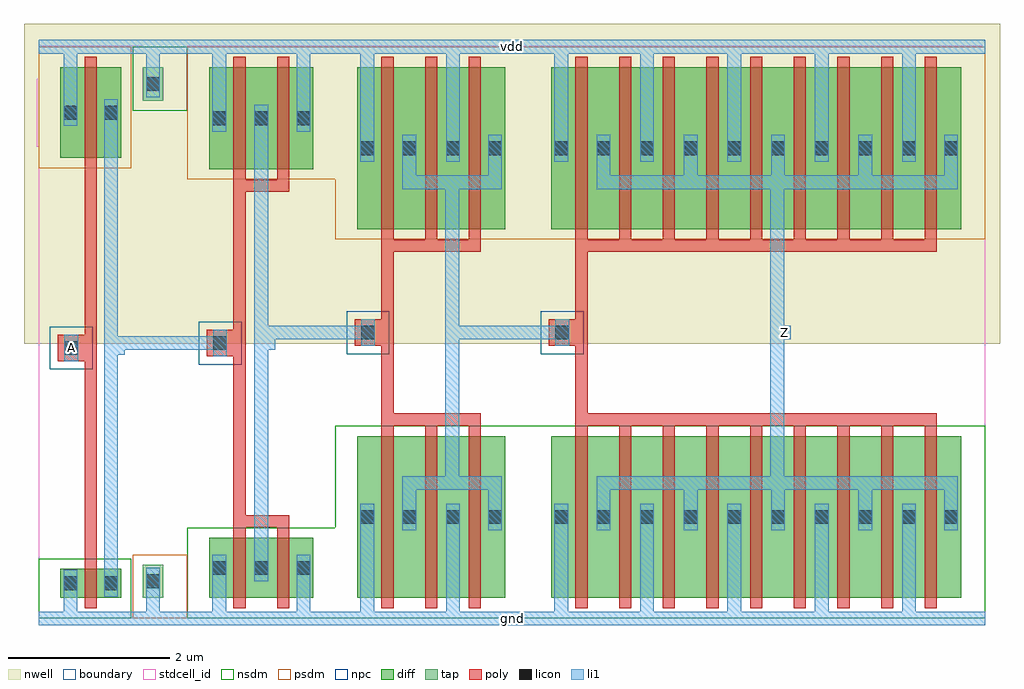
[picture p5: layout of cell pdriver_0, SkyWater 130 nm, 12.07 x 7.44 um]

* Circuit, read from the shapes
.subckt pdriver_0 A Z gnd vdd
XM1 pinv_3_1/A A gnd gnd sky130_fd_pr__nfet_01v8 w=0.36 l=0.15
XM2 pinv_5_2/A pinv_3_1/A gnd gnd sky130_fd_pr__nfet_01v8 w=0.74 l=0.15 m=2
XM3 pinv_6_3/A pinv_5_2/A gnd gnd sky130_fd_pr__nfet_01v8 w=2 l=0.15 m=3
XM4 Z pinv_6_3/A gnd gnd sky130_fd_pr__nfet_01v8 w=2 l=0.15 m=9
XM5 pinv_3_1/A A vdd vdd sky130_fd_pr__pfet_01v8 w=1.12 l=0.15
XM6 pinv_5_2/A pinv_3_1/A vdd vdd sky130_fd_pr__pfet_01v8 w=1.26 l=0.15 m=2
XM7 pinv_6_3/A pinv_5_2/A vdd vdd sky130_fd_pr__pfet_01v8 w=2 l=0.15 m=3
XM8 Z pinv_6_3/A vdd vdd sky130_fd_pr__pfet_01v8 w=2 l=0.15 m=9
.ends

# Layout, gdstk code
import gdstk
lib = gdstk.Library(unit=1e-6, precision=1e-09)
def R(c, l, rs):  # rectangles x0, y0, x1, y1
    for r in rs: c.add(gdstk.rectangle(r[:2], r[2:], *l))
def A(c, l, x, y, w, h, nx, ny, dx, dy):  # array of equal rectangles
    R(c, l, [(x+i*dx, y+j*dy, x+i*dx+w, y+j*dy+h) for i in range(nx) for j in range(ny)])
nwell = (64, 20)
diff = (65, 20)
tap = (65, 44)
poly = (66, 20)
licon = (66, 44)
li1 = (67, 20)
stdcell_id = (81, 4)
nsdm = (93, 44)
psdm = (94, 20)
npc = (95, 20)
boundary = (235, 4)

contact_11 = lib.new_cell('contact_11')
R(contact_11, nwell, [(-0.295,-0.255,0.545,0.585)])
R(contact_11, diff, [(0,0.02,0.25,0.31)])
R(contact_11, licon, [(0.04,0.08,0.21,0.25)])
R(contact_11, li1, [(0.04,0,0.21,0.33)])
R(contact_11, stdcell_id, [(-0.295,-0.255,0.545,0.585)])
R(contact_11, psdm, [(-0.125,-0.105,0.375,0.435)])
R(contact_11, boundary, [(-0.295,-0.255,0.545,0.585)])

pmos_m1_w1_120_sli_dli_d = lib.new_cell('pmos_m1_w1_120_sli_dli_da_p')
R(pmos_m1_w1_120_sli_dli_d, nwell, [(-0.27,-0.27,1.02,1.39)])
R(pmos_m1_w1_120_sli_dli_d, diff, [(0,0,0.75,1.12)])
R(pmos_m1_w1_120_sli_dli_d, poly, [(0.3,-0.13,0.45,1.25), (0.3,-0.13,0.45,1.25)])
R(pmos_m1_w1_120_sli_dli_d, li1, [(0.04,0.395,0.21,0.725), (0.54,0.395,0.71,0.725)])
R(pmos_m1_w1_120_sli_dli_d, stdcell_id, [(-0.27,-0.27,1.02,1.39)])
R(pmos_m1_w1_120_sli_dli_d, psdm, [(-0.125,-0.125,0.875,1.245)])
R(pmos_m1_w1_120_sli_dli_d, boundary, [(-0.27,-0.27,1.02,1.39)])
pmos_m1_w1_120_sli_dli_d.add(gdstk.Reference(contact_11, (0,0.395)))
pmos_m1_w1_120_sli_dli_d.add(gdstk.Reference(contact_11, (0.5,0.395)))
pmos_m1_w1_120_sli_dli_d.add(gdstk.Label('D', (0.625,0.56), layer=67, texttype=16))
pmos_m1_w1_120_sli_dli_d.add(gdstk.Label('S', (0.125,0.56), layer=67, texttype=16))
pmos_m1_w1_120_sli_dli_d.add(gdstk.Label('G', (0.375,0.56), layer=66, texttype=16))

contact_17 = lib.new_cell('contact_17')
R(contact_17, diff, [(0,0.02,0.25,0.31)])
R(contact_17, licon, [(0.04,0.08,0.21,0.25)])
R(contact_17, li1, [(0.04,0,0.21,0.33)])
R(contact_17, stdcell_id, [(-0.125,-0.105,0.375,0.435)])
R(contact_17, nsdm, [(-0.125,-0.105,0.375,0.435)])
R(contact_17, boundary, [(-0.125,-0.105,0.375,0.435)])

nmos_m1_w0_360_sli_dli_d = lib.new_cell('nmos_m1_w0_360_sli_dli_da_p')
R(nmos_m1_w0_360_sli_dli_d, diff, [(0,0,0.75,0.36)])
R(nmos_m1_w0_360_sli_dli_d, poly, [(0.3,-0.13,0.45,0.49), (0.3,-0.13,0.45,0.49)])
R(nmos_m1_w0_360_sli_dli_d, li1, [(0.04,0.015,0.21,0.345), (0.54,0.015,0.71,0.345)])
R(nmos_m1_w0_360_sli_dli_d, stdcell_id, [(-0.125,-0.13,0.875,0.49)])
R(nmos_m1_w0_360_sli_dli_d, nsdm, [(-0.125,-0.125,0.875,0.485)])
R(nmos_m1_w0_360_sli_dli_d, boundary, [(-0.125,-0.13,0.875,0.49)])
nmos_m1_w0_360_sli_dli_d.add(gdstk.Reference(contact_17, (0,0.015)))
nmos_m1_w0_360_sli_dli_d.add(gdstk.Reference(contact_17, (0.5,0.015)))
nmos_m1_w0_360_sli_dli_d.add(gdstk.Label('D', (0.625,0.18), layer=67, texttype=16))
nmos_m1_w0_360_sli_dli_d.add(gdstk.Label('S', (0.125,0.18), layer=67, texttype=16))
nmos_m1_w0_360_sli_dli_d.add(gdstk.Label('G', (0.375,0.18), layer=66, texttype=16))

contact_24 = lib.new_cell('contact_24')
R(contact_24, nwell, [(-0.295,-0.215,0.545,0.625)])
R(contact_24, tap, [(0,0,0.25,0.41)])
R(contact_24, licon, [(0.04,0.12,0.21,0.29)])
R(contact_24, li1, [(0.04,0.04,0.21,0.37)])
R(contact_24, stdcell_id, [(-0.295,-0.215,0.545,0.625)])
R(contact_24, nsdm, [(-0.125,-0.125,0.375,0.535)])
R(contact_24, boundary, [(-0.295,-0.215,0.545,0.625)])

contact_25 = lib.new_cell('contact_25')
R(contact_25, tap, [(0,0,0.25,0.41)])
R(contact_25, licon, [(0.04,0.12,0.21,0.29)])
R(contact_25, li1, [(0.04,0.04,0.21,0.37)])
R(contact_25, stdcell_id, [(-0.125,-0.125,0.375,0.535)])
R(contact_25, psdm, [(-0.125,-0.125,0.375,0.535)])
R(contact_25, boundary, [(-0.125,-0.125,0.375,0.535)])

contact_12 = lib.new_cell('contact_12')
R(contact_12, poly, [(0,0,0.33,0.33)])
R(contact_12, licon, [(0.08,0.08,0.25,0.25)])
R(contact_12, li1, [(0.08,0,0.25,0.33)])
R(contact_12, stdcell_id, [(-0.1,-0.1,0.43,0.43)])
R(contact_12, npc, [(-0.1,-0.1,0.43,0.43)])
R(contact_12, boundary, [(-0.1,-0.1,0.43,0.43)])

pinv_4 = lib.new_cell('pinv_4')
R(pinv_4, nwell, [(-0.18,3.395,2.02,7.355)])
R(pinv_4, poly, [(0.57,0.745,0.72,5.565), (0.405,3.18,0.57,3.51)])
R(pinv_4, li1, [(0,-0.085,1.84,0.085), (0.31,-0.085,0.48,0.27), (1.33,0,1.5,0.46), (0.81,0.27,0.98,6.42), (0.32,3.18,0.49,3.51), (0.895,3.26,1.065,3.43), (0.31,6.09,0.48,7.155), (1.33,6.61,1.5,7.07), (0,6.985,1.84,7.155)])
R(pinv_4, stdcell_id, [(0,0,1.84,7.07), (0,0,1.84,7.07)])
R(pinv_4, nsdm, [(0,0,1.145,0.74), (1.165,6.28,1.84,7.07)])
R(pinv_4, psdm, [(1.165,0,1.84,0.79), (0,5.57,1.145,7.07)])
R(pinv_4, boundary, [(0,0,1.84,7.07), (0,0,1.84,7.07)])
pinv_4.add(gdstk.Reference(pmos_m1_w1_120_sli_dli_d, (0.27,5.695)))
pinv_4.add(gdstk.Reference(nmos_m1_w0_360_sli_dli_d, (0.27,0.255)))
pinv_4.add(gdstk.Reference(contact_24, (1.29,6.405)))
pinv_4.add(gdstk.Reference(contact_25, (1.29,0.255)))
pinv_4.add(gdstk.Reference(contact_12, (0.24,3.18)))
pinv_4.add(gdstk.Label('vdd', (0.92,7.07), layer=67, texttype=16))
pinv_4.add(gdstk.Label('gnd', (0.92,0), layer=67, texttype=16))
pinv_4.add(gdstk.Label('Z', (0.98,3.345), layer=67, texttype=16))
pinv_4.add(gdstk.Label('A', (0.405,3.345), layer=67, texttype=16))

pmos_m2_w1_260_sli_dli_d = lib.new_cell('pmos_m2_w1_260_sli_dli_da_p')
R(pmos_m2_w1_260_sli_dli_d, nwell, [(-0.27,-0.27,1.56,1.53)])
R(pmos_m2_w1_260_sli_dli_d, diff, [(0,0,1.29,1.26)])
R(pmos_m2_w1_260_sli_dli_d, poly, [(0.3,-0.28,0.99,-0.13), (0.3,-0.13,0.45,1.39), (0.84,-0.13,0.99,1.39)])
A(pmos_m2_w1_260_sli_dli_d, li1, 0.04, 0.465, 0.17, 0.33, 3, 1, 0.52, 0)
R(pmos_m2_w1_260_sli_dli_d, stdcell_id, [(-0.27,-0.27,1.56,1.53)])
R(pmos_m2_w1_260_sli_dli_d, psdm, [(-0.125,-0.125,1.415,1.385)])
R(pmos_m2_w1_260_sli_dli_d, boundary, [(-0.27,-0.27,1.56,1.53)])
pmos_m2_w1_260_sli_dli_d.add(gdstk.Reference(contact_11, (0,0.465)))
pmos_m2_w1_260_sli_dli_d.add(gdstk.Reference(contact_11, (0.52,0.465)))
pmos_m2_w1_260_sli_dli_d.add(gdstk.Reference(contact_11, (1.04,0.465)))
pmos_m2_w1_260_sli_dli_d.add(gdstk.Label('D', (0.645,0.63), layer=67, texttype=16))
pmos_m2_w1_260_sli_dli_d.add(gdstk.Label('S', (0.125,0.63), layer=67, texttype=16))
pmos_m2_w1_260_sli_dli_d.add(gdstk.Label('S', (1.165,0.63), layer=67, texttype=16))
pmos_m2_w1_260_sli_dli_d.add(gdstk.Label('G', (0.645,-0.205), layer=66, texttype=16))

nmos_m2_w0_740_sli_dli_d = lib.new_cell('nmos_m2_w0_740_sli_dli_da_p')
R(nmos_m2_w0_740_sli_dli_d, diff, [(0,0,1.29,0.74)])
R(nmos_m2_w0_740_sli_dli_d, poly, [(0.3,-0.13,0.45,0.87), (0.84,-0.13,0.99,0.87), (0.3,0.87,0.99,1.02)])
A(nmos_m2_w0_740_sli_dli_d, li1, 0.04, 0.205, 0.17, 0.33, 3, 1, 0.52, 0)
R(nmos_m2_w0_740_sli_dli_d, stdcell_id, [(-0.125,-0.13,1.415,0.87)])
R(nmos_m2_w0_740_sli_dli_d, nsdm, [(-0.125,-0.125,1.415,0.865)])
R(nmos_m2_w0_740_sli_dli_d, boundary, [(-0.125,-0.13,1.415,0.87)])
nmos_m2_w0_740_sli_dli_d.add(gdstk.Reference(contact_17, (0,0.205)))
nmos_m2_w0_740_sli_dli_d.add(gdstk.Reference(contact_17, (0.52,0.205)))
nmos_m2_w0_740_sli_dli_d.add(gdstk.Reference(contact_17, (1.04,0.205)))
nmos_m2_w0_740_sli_dli_d.add(gdstk.Label('D', (0.645,0.37), layer=67, texttype=16))
nmos_m2_w0_740_sli_dli_d.add(gdstk.Label('S', (0.125,0.37), layer=67, texttype=16))
nmos_m2_w0_740_sli_dli_d.add(gdstk.Label('S', (1.165,0.37), layer=67, texttype=16))
nmos_m2_w0_740_sli_dli_d.add(gdstk.Label('G', (0.645,0.945), layer=66, texttype=16))

pinv_3 = lib.new_cell('pinv_3')
R(pinv_3, nwell, [(-0.18,3.395,2.01,7.355)])
R(pinv_3, poly, [(0.57,1.275,0.72,5.275), (0.405,3.24,0.57,3.57)])
R(pinv_3, li1, [(0,-0.085,1.83,0.085), (0.31,-0.085,0.48,0.46), (1.35,-0.085,1.52,0.46), (0.83,0.46,1,6.35), (0.32,3.24,0.49,3.57), (0.915,3.32,1.085,3.49), (0.31,6.02,0.48,7.155), (1.35,6.02,1.52,7.155), (0,6.985,1.83,7.155)])
R(pinv_3, stdcell_id, [(0,0,1.83,7.07), (0,0,1.83,7.07)])
R(pinv_3, nsdm, [(0,0,1.83,1.12)])
R(pinv_3, psdm, [(0,5.43,1.83,7.07)])
R(pinv_3, boundary, [(0,0,1.83,7.07), (0,0,1.83,7.07)])
pinv_3.add(gdstk.Reference(pmos_m2_w1_260_sli_dli_d, (0.27,5.555)))
pinv_3.add(gdstk.Reference(nmos_m2_w0_740_sli_dli_d, (0.27,0.255)))
pinv_3.add(gdstk.Reference(contact_12, (0.24,3.24)))
pinv_3.add(gdstk.Label('vdd', (0.915,7.07), layer=67, texttype=16))
pinv_3.add(gdstk.Label('gnd', (0.915,0), layer=67, texttype=16))
pinv_3.add(gdstk.Label('Z', (1,3.405), layer=67, texttype=16))
pinv_3.add(gdstk.Label('A', (0.405,3.405), layer=67, texttype=16))

pmos_m3_w2_000_sli_dli_d = lib.new_cell('pmos_m3_w2_000_sli_dli_da_p')
R(pmos_m3_w2_000_sli_dli_d, nwell, [(-0.27,-0.27,2.1,2.27)])
R(pmos_m3_w2_000_sli_dli_d, diff, [(0,0,1.83,2)])
A(pmos_m3_w2_000_sli_dli_d, poly, 0.3, -0.13, 0.15, 2.26, 3, 1, 0.54, 0)
R(pmos_m3_w2_000_sli_dli_d, poly, [(0.3,-0.28,1.53,-0.13)])
R(pmos_m3_w2_000_sli_dli_d, li1, [(0.56,0.495,1.79,0.665), (0.56,0.58,0.73,1), (1.62,0.58,1.79,1), (0.04,0.835,0.21,1.165), (1.1,0.835,1.27,1.165)])
R(pmos_m3_w2_000_sli_dli_d, stdcell_id, [(-0.27,-0.27,2.1,2.27)])
R(pmos_m3_w2_000_sli_dli_d, psdm, [(-0.125,-0.125,1.955,2.125)])
R(pmos_m3_w2_000_sli_dli_d, boundary, [(-0.27,-0.27,2.1,2.27)])
pmos_m3_w2_000_sli_dli_d.add(gdstk.Reference(contact_11, (0,0.835)))
pmos_m3_w2_000_sli_dli_d.add(gdstk.Reference(contact_11, (0.52,0.835)))
pmos_m3_w2_000_sli_dli_d.add(gdstk.Reference(contact_11, (1.06,0.835)))
pmos_m3_w2_000_sli_dli_d.add(gdstk.Reference(contact_11, (1.58,0.835)))
pmos_m3_w2_000_sli_dli_d.add(gdstk.Label('D', (1.175,0.58), layer=67, texttype=16))
pmos_m3_w2_000_sli_dli_d.add(gdstk.Label('S', (1.185,1), layer=67, texttype=16))
pmos_m3_w2_000_sli_dli_d.add(gdstk.Label('S', (0.125,1), layer=67, texttype=16))
pmos_m3_w2_000_sli_dli_d.add(gdstk.Label('G', (0.915,-0.205), layer=66, texttype=16))

nmos_m3_w2_000_sli_dli_d = lib.new_cell('nmos_m3_w2_000_sli_dli_da_p')
R(nmos_m3_w2_000_sli_dli_d, diff, [(0,0,1.83,2)])
A(nmos_m3_w2_000_sli_dli_d, poly, 0.3, -0.13, 0.15, 2.26, 3, 1, 0.54, 0)
R(nmos_m3_w2_000_sli_dli_d, poly, [(0.3,2.13,1.53,2.28)])
R(nmos_m3_w2_000_sli_dli_d, li1, [(0.04,0.835,0.21,1.165), (1.1,0.835,1.27,1.165), (0.56,1,0.73,1.42), (1.62,1,1.79,1.42), (0.56,1.335,1.79,1.505)])
R(nmos_m3_w2_000_sli_dli_d, stdcell_id, [(-0.125,-0.13,1.955,2.13)])
R(nmos_m3_w2_000_sli_dli_d, nsdm, [(-0.125,-0.125,1.955,2.125)])
R(nmos_m3_w2_000_sli_dli_d, boundary, [(-0.125,-0.13,1.955,2.13)])
nmos_m3_w2_000_sli_dli_d.add(gdstk.Reference(contact_17, (0,0.835)))
nmos_m3_w2_000_sli_dli_d.add(gdstk.Reference(contact_17, (0.52,0.835)))
nmos_m3_w2_000_sli_dli_d.add(gdstk.Reference(contact_17, (1.06,0.835)))
nmos_m3_w2_000_sli_dli_d.add(gdstk.Reference(contact_17, (1.58,0.835)))
nmos_m3_w2_000_sli_dli_d.add(gdstk.Label('D', (1.175,1.42), layer=67, texttype=16))
nmos_m3_w2_000_sli_dli_d.add(gdstk.Label('S', (1.185,1), layer=67, texttype=16))
nmos_m3_w2_000_sli_dli_d.add(gdstk.Label('S', (0.125,1), layer=67, texttype=16))
nmos_m3_w2_000_sli_dli_d.add(gdstk.Label('G', (0.915,2.205), layer=66, texttype=16))

pinv_5 = lib.new_cell('pinv_5')
R(pinv_5, nwell, [(-0.18,3.395,2.58,7.355)])
R(pinv_5, poly, [(0.57,2.535,0.72,4.535), (0.405,3.37,0.57,3.7)])
R(pinv_5, li1, [(0,-0.085,2.4,0.085), (0.31,-0.085,0.48,1.09), (1.37,-0.085,1.54,1.09), (1.36,1.59,1.53,5.48), (0.32,3.37,0.49,3.7), (1.445,3.45,1.615,3.62), (0.31,5.65,0.48,7.155), (1.37,5.65,1.54,7.155), (0,6.985,2.4,7.155)])
R(pinv_5, stdcell_id, [(0,0,2.4,7.07), (0,0,2.4,7.07)])
R(pinv_5, nsdm, [(0,0,2.4,2.38)])
R(pinv_5, psdm, [(0,4.69,2.4,7.07)])
R(pinv_5, boundary, [(0,0,2.4,7.07), (0,0,2.4,7.07)])
pinv_5.add(gdstk.Reference(pmos_m3_w2_000_sli_dli_d, (0.27,4.815)))
pinv_5.add(gdstk.Reference(nmos_m3_w2_000_sli_dli_d, (0.27,0.255)))
pinv_5.add(gdstk.Reference(contact_12, (0.24,3.37)))
pinv_5.add(gdstk.Label('vdd', (1.2,7.07), layer=67, texttype=16))
pinv_5.add(gdstk.Label('gnd', (1.2,0), layer=67, texttype=16))
pinv_5.add(gdstk.Label('Z', (1.53,3.535), layer=67, texttype=16))
pinv_5.add(gdstk.Label('A', (0.405,3.535), layer=67, texttype=16))

pmos_m9_w2_000_sli_dli_d = lib.new_cell('pmos_m9_w2_000_sli_dli_da_p')
R(pmos_m9_w2_000_sli_dli_d, nwell, [(-0.27,-0.27,5.34,2.27)])
R(pmos_m9_w2_000_sli_dli_d, diff, [(0,0,5.07,2)])
A(pmos_m9_w2_000_sli_dli_d, poly, 0.3, -0.13, 0.15, 2.26, 9, 1, 0.54, 0)
R(pmos_m9_w2_000_sli_dli_d, poly, [(0.3,-0.28,4.77,-0.13)])
A(pmos_m9_w2_000_sli_dli_d, li1, 0.56, 0.58, 0.17, 0.42, 4, 1, 1.08, 0)
A(pmos_m9_w2_000_sli_dli_d, li1, 1.1, 0.835, 0.17, 0.33, 4, 1, 1.08, 0)
R(pmos_m9_w2_000_sli_dli_d, li1, [(0.56,0.495,5.03,0.665), (4.86,0.58,5.03,1), (0.04,0.835,0.21,1.165)])
R(pmos_m9_w2_000_sli_dli_d, stdcell_id, [(-0.27,-0.27,5.34,2.27)])
R(pmos_m9_w2_000_sli_dli_d, psdm, [(-0.125,-0.125,5.195,2.125)])
R(pmos_m9_w2_000_sli_dli_d, boundary, [(-0.27,-0.27,5.34,2.27)])
pmos_m9_w2_000_sli_dli_d.add(gdstk.Reference(contact_11, (0,0.835)))
pmos_m9_w2_000_sli_dli_d.add(gdstk.Reference(contact_11, (0.52,0.835)))
pmos_m9_w2_000_sli_dli_d.add(gdstk.Reference(contact_11, (1.06,0.835)))
pmos_m9_w2_000_sli_dli_d.add(gdstk.Reference(contact_11, (1.6,0.835)))
pmos_m9_w2_000_sli_dli_d.add(gdstk.Reference(contact_11, (2.14,0.835)))
pmos_m9_w2_000_sli_dli_d.add(gdstk.Reference(contact_11, (2.68,0.835)))
pmos_m9_w2_000_sli_dli_d.add(gdstk.Reference(contact_11, (3.22,0.835)))
pmos_m9_w2_000_sli_dli_d.add(gdstk.Reference(contact_11, (3.76,0.835)))
pmos_m9_w2_000_sli_dli_d.add(gdstk.Reference(contact_11, (4.3,0.835)))
pmos_m9_w2_000_sli_dli_d.add(gdstk.Reference(contact_11, (4.82,0.835)))
pmos_m9_w2_000_sli_dli_d.add(gdstk.Label('D', (2.795,0.58), layer=67, texttype=16))
pmos_m9_w2_000_sli_dli_d.add(gdstk.Label('S', (3.345,1), layer=67, texttype=16))
pmos_m9_w2_000_sli_dli_d.add(gdstk.Label('S', (1.185,1), layer=67, texttype=16))
pmos_m9_w2_000_sli_dli_d.add(gdstk.Label('S', (4.425,1), layer=67, texttype=16))
pmos_m9_w2_000_sli_dli_d.add(gdstk.Label('S', (0.125,1), layer=67, texttype=16))
pmos_m9_w2_000_sli_dli_d.add(gdstk.Label('S', (2.265,1), layer=67, texttype=16))
pmos_m9_w2_000_sli_dli_d.add(gdstk.Label('G', (2.535,-0.205), layer=66, texttype=16))

nmos_m9_w2_000_sli_dli_d = lib.new_cell('nmos_m9_w2_000_sli_dli_da_p')
R(nmos_m9_w2_000_sli_dli_d, diff, [(0,0,5.07,2)])
A(nmos_m9_w2_000_sli_dli_d, poly, 0.3, -0.13, 0.15, 2.26, 9, 1, 0.54, 0)
R(nmos_m9_w2_000_sli_dli_d, poly, [(0.3,2.13,4.77,2.28)])
A(nmos_m9_w2_000_sli_dli_d, li1, 1.1, 0.835, 0.17, 0.33, 4, 1, 1.08, 0)
A(nmos_m9_w2_000_sli_dli_d, li1, 0.56, 1, 0.17, 0.42, 4, 1, 1.08, 0)
R(nmos_m9_w2_000_sli_dli_d, li1, [(0.04,0.835,0.21,1.165), (4.86,1,5.03,1.42), (0.56,1.335,5.03,1.505)])
R(nmos_m9_w2_000_sli_dli_d, stdcell_id, [(-0.125,-0.13,5.195,2.13)])
R(nmos_m9_w2_000_sli_dli_d, nsdm, [(-0.125,-0.125,5.195,2.125)])
R(nmos_m9_w2_000_sli_dli_d, boundary, [(-0.125,-0.13,5.195,2.13)])
nmos_m9_w2_000_sli_dli_d.add(gdstk.Reference(contact_17, (0,0.835)))
nmos_m9_w2_000_sli_dli_d.add(gdstk.Reference(contact_17, (0.52,0.835)))
nmos_m9_w2_000_sli_dli_d.add(gdstk.Reference(contact_17, (1.06,0.835)))
nmos_m9_w2_000_sli_dli_d.add(gdstk.Reference(contact_17, (1.6,0.835)))
nmos_m9_w2_000_sli_dli_d.add(gdstk.Reference(contact_17, (2.14,0.835)))
nmos_m9_w2_000_sli_dli_d.add(gdstk.Reference(contact_17, (2.68,0.835)))
nmos_m9_w2_000_sli_dli_d.add(gdstk.Reference(contact_17, (3.22,0.835)))
nmos_m9_w2_000_sli_dli_d.add(gdstk.Reference(contact_17, (3.76,0.835)))
nmos_m9_w2_000_sli_dli_d.add(gdstk.Reference(contact_17, (4.3,0.835)))
nmos_m9_w2_000_sli_dli_d.add(gdstk.Reference(contact_17, (4.82,0.835)))
nmos_m9_w2_000_sli_dli_d.add(gdstk.Label('D', (2.795,1.42), layer=67, texttype=16))
nmos_m9_w2_000_sli_dli_d.add(gdstk.Label('S', (3.345,1), layer=67, texttype=16))
nmos_m9_w2_000_sli_dli_d.add(gdstk.Label('S', (1.185,1), layer=67, texttype=16))
nmos_m9_w2_000_sli_dli_d.add(gdstk.Label('S', (4.425,1), layer=67, texttype=16))
nmos_m9_w2_000_sli_dli_d.add(gdstk.Label('S', (0.125,1), layer=67, texttype=16))
nmos_m9_w2_000_sli_dli_d.add(gdstk.Label('S', (2.265,1), layer=67, texttype=16))
nmos_m9_w2_000_sli_dli_d.add(gdstk.Label('G', (2.535,2.205), layer=66, texttype=16))

pinv_6 = lib.new_cell('pinv_6')
R(pinv_6, nwell, [(-0.18,3.395,5.82,7.355)])
R(pinv_6, poly, [(0.57,2.535,0.72,4.535), (0.405,3.37,0.57,3.7)])
A(pinv_6, li1, 1.37, -0.085, 0.17, 1.175, 4, 1, 1.08, 0)
A(pinv_6, li1, 1.37, 5.65, 0.17, 1.505, 4, 1, 1.08, 0)
R(pinv_6, li1, [(0,-0.085,5.64,0.085), (0.31,-0.085,0.48,1.09), (2.98,1.59,3.15,5.48), (0.32,3.37,0.49,3.7), (3.065,3.45,3.235,3.62), (0.31,5.65,0.48,7.155), (0,6.985,5.64,7.155)])
R(pinv_6, stdcell_id, [(0,0,5.64,7.07), (0,0,5.64,7.07)])
R(pinv_6, nsdm, [(0,0,5.64,2.38)])
R(pinv_6, psdm, [(0,4.69,5.64,7.07)])
R(pinv_6, boundary, [(0,0,5.64,7.07), (0,0,5.64,7.07)])
pinv_6.add(gdstk.Reference(pmos_m9_w2_000_sli_dli_d, (0.27,4.815)))
pinv_6.add(gdstk.Reference(nmos_m9_w2_000_sli_dli_d, (0.27,0.255)))
pinv_6.add(gdstk.Reference(contact_12, (0.24,3.37)))
pinv_6.add(gdstk.Label('vdd', (2.82,7.07), layer=67, texttype=16))
pinv_6.add(gdstk.Label('gnd', (2.82,0), layer=67, texttype=16))
pinv_6.add(gdstk.Label('Z', (3.15,3.535), layer=67, texttype=16))
pinv_6.add(gdstk.Label('A', (0.405,3.535), layer=67, texttype=16))

pdriver_0 = lib.new_cell('pdriver_0')
R(pdriver_0, nwell, [(-0.18,3.395,11.89,7.355)])
R(pdriver_0, li1, [(0,-0.085,11.71,0.085), (0.32,3.18,0.49,3.51), (0.895,3.32,1.065,3.49), (0.98,3.32,2.245,3.49), (0.895,3.345,1.065,3.405), (2.755,3.405,2.925,3.535), (2.755,3.45,2.925,3.62), (2.84,3.45,4.075,3.62), (5.2,3.45,6.475,3.62), (9.135,3.45,9.305,3.62), (0,6.985,11.71,7.155)])
R(pdriver_0, stdcell_id, [(0,0,11.71,7.07), (0,0,11.71,7.07)])
R(pdriver_0, boundary, [(0,0,11.71,7.07), (0,0,11.71,7.07)])
pdriver_0.add(gdstk.Reference(pinv_4, (0,0)))
pdriver_0.add(gdstk.Reference(pinv_3, (1.84,0)))
pdriver_0.add(gdstk.Reference(pinv_5, (3.67,0)))
pdriver_0.add(gdstk.Reference(pinv_6, (6.07,0)))
pdriver_0.add(gdstk.Label('vdd', (5.855,7.07), layer=67, texttype=16))
pdriver_0.add(gdstk.Label('gnd', (5.855,0), layer=67, texttype=16))
pdriver_0.add(gdstk.Label('Z', (9.22,3.535), layer=67, texttype=16))
pdriver_0.add(gdstk.Label('A', (0.405,3.345), layer=67, texttype=16))

lib.write_gds('pdriver_0.gds')
